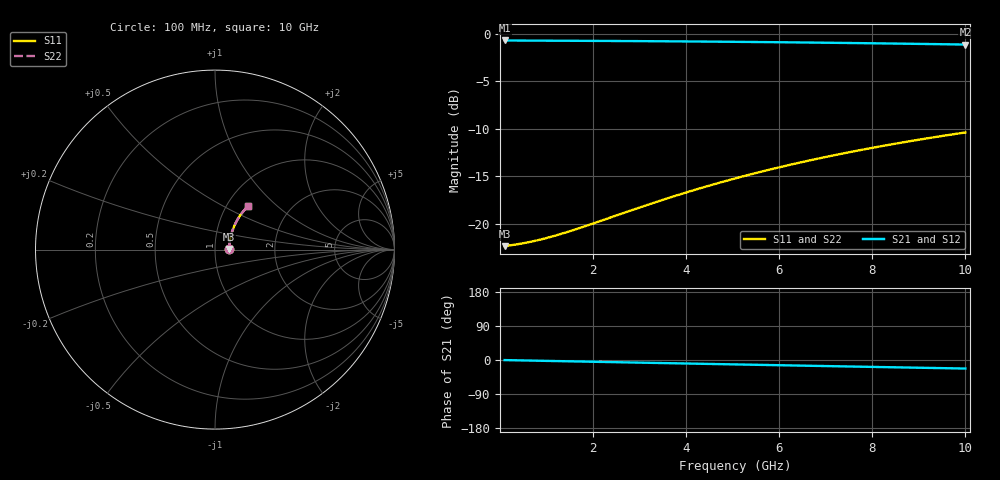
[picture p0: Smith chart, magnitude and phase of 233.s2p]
# Hz S RI R 50.00
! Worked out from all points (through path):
!   100 points, 100 MHz to 10 GHz, reference 50 ohm
!   highest |S21| = -0.69 dB at 100 MHz (marker M1); lowest = -1.1 dB at 10 GHz (marker M2)
!   group delay of S21, straight-line fit = 6.27 ps
!   lowest |S11| = -22.4 dB at 100 MHz (marker M3), VSWR 1.17, Z = 58.3 + j0.328 ohm
!   |S11| at or under -10 dB: start of sweep to end of sweep
!   |S22| runs from -22.4 to -10.4 dB; largest |S21 - S12| = 0
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1e8  0.0762 0.0028  0.9238 -0.00375  0.9238 -0.00375  0.0762 0.0028
5e8  0.0778 0.0139  0.9222 -0.0187  0.9222 -0.0187  0.0778 0.0139
7e8  0.0785 0.0195  0.9215 -0.0262  0.9215 -0.0262  0.0785 0.0195
9e8  0.0791 0.025  0.9208 -0.0336  0.9208 -0.0336  0.0791 0.025
1.1e9  0.0798 0.0306  0.9201 -0.0411  0.9201 -0.0411  0.0798 0.0306
1.3e9  0.0806 0.0361  0.9193 -0.0485  0.9193 -0.0485  0.0806 0.0361
1.8e9  0.0828 0.0498  0.917 -0.067  0.917 -0.067  0.0828 0.0498
2.9e9  0.0893 0.0795  0.9102 -0.1072  0.9102 -0.1072  0.0893 0.0795
3.4e9  0.0931 0.0927  0.9064 -0.1252  0.9064 -0.1252  0.0931 0.0927
3.9e9  0.0973 0.1058  0.9019 -0.143  0.9019 -0.143  0.0973 0.1058
4.3e9  0.101 0.1161  0.8981 -0.1571  0.8981 -0.1571  0.101 0.1161
4.7e9  0.1051 0.1262  0.8939 -0.171  0.8939 -0.171  0.1051 0.1262
5.1e9  0.1094 0.1361  0.8893 -0.1848  0.8893 -0.1848  0.1094 0.1361
5.5e9  0.114 0.1459  0.8845 -0.1984  0.8845 -0.1984  0.114 0.1459
5.9e9  0.1189 0.1555  0.8794 -0.2119  0.8794 -0.2119  0.1189 0.1555
6.3e9  0.1241 0.1649  0.874 -0.2251  0.874 -0.2251  0.1241 0.1649
6.7e9  0.1295 0.1741  0.8683 -0.2381  0.8683 -0.2381  0.1295 0.1741
7.5e9  0.1412 0.1918  0.8561 -0.2635  0.8561 -0.2635  0.1412 0.1918
7.9e9  0.1474 0.2003  0.8496 -0.2759  0.8496 -0.2759  0.1474 0.2003
8.4e9  0.1554 0.2106  0.8412 -0.2911  0.8412 -0.2911  0.1554 0.2106
9.2e9  0.169 0.2263  0.8269 -0.3145  0.8269 -0.3145  0.169 0.2263
1e10  0.1833 0.241  0.8119 -0.3369  0.8119 -0.3369  0.1833 0.241
